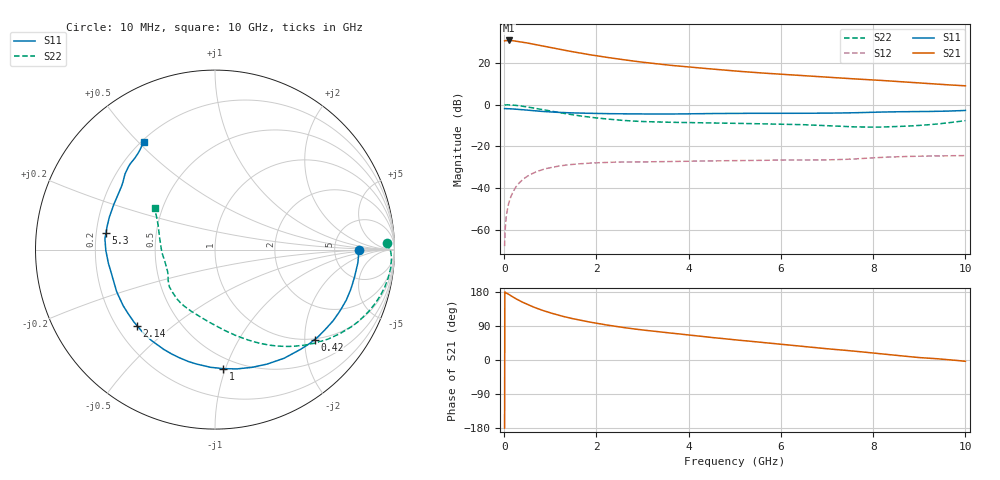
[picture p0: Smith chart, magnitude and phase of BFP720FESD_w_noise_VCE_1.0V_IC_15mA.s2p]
! (c) 2016  Infineon Technologies AG, Munich
! Infineon Technologies  Discrete & RF Semiconductors
! BFP720FESD
! VCE =  1.0 V,  IC =  15 mA
! Common Emitter S-Parameters:  Jan 2016
# GHz  S  MA  R  50
!  f  S11  S21  S12  S22
! GHz  MAG  ANG  MAG  ANG  MAG  ANG  MAG  ANG
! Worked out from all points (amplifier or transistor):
!   233 points, 10 MHz to 10 GHz, reference 50 ohm
!   highest |S21| = 30.7 dB at 100 MHz (marker M1)
!   |S21| within 3 dB of that: start of sweep to 913 MHz
!   unconditionally stable (mu >= 1): 5.667 GHz to end of sweep
!   at 200 MHz: K = 0.08, MSG = 36.1 dB, |S12| = -41.6 dB
!   at 1.74 GHz: K = 0.39, MSG = 26.3 dB, |S12| = -28.3 dB
!   at 10 GHz: K = 1.35, MAG = 13.2 dB, |S12| = -24.5 dB
!   lowest NFmin = 0.82 dB at 450 MHz
!   S11 on the Smith chart (normalised r, x): 10 MHz: 9.03, -0.07; 420 MHz: 0.98, -2.23; 1 GHz: 0.41, -0.98; 2.14 GHz: 0.28, -0.38; 5.3 GHz: 0.24, +0.07; 10 GHz: 0.21, +0.52
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0.01  0.8007 -0.1  33.53 -179.7  0.0004 127.9  0.9586 2.1
0.02  0.8003 -2.3  34.13 179.0  0.0009 82.4  0.9795 -0.7
0.1  0.7927 -10.7  34.46 173.2  0.0043 83.3  0.984 -6.1
0.2  0.7837 -21.0  33.85 165.7  0.0083 78.4  0.9681 -12.5
0.26  0.7741 -27.0  33.13 161.3  0.0107 76.0  0.9535 -16.1
0.42  0.7477 -42.1  31.11 151.4  0.0163 68.5  0.9034 -25.0
0.5  0.7327 -49.2  29.98 146.7  0.0189 65.1  0.8757 -29.2
0.6  0.7175 -57.5  28.59 141.4  0.0218 61.1  0.8389 -33.9
0.7  0.7009 -65.5  27.16 136.7  0.0244 57.5  0.803 -38.4
0.84  0.6816 -75.4  25.28 130.7  0.0276 52.9  0.7538 -44.0
1  0.6647 -86.2  23.34 124.5  0.0306 48.2  0.7002 -50.2
1.2  0.6477 -98.0  21.16 117.5  0.0336 43.3  0.6402 -57.1
1.34  0.6378 -105.2  19.77 113.2  0.0352 40.2  0.6025 -61.5
1.68  0.6212 -120.3  16.93 104.1  0.0382 34.2  0.5281 -71.0
2.14  0.6071 -135.7  14.01 94.1  0.0405 28.7  0.4596 -81.9
2.74  0.5971 -151.7  11.29 83.2  0.0419 23.6  0.405 -94.7
3.4  0.5914 -163.9  9.233 73.9  0.0426 21.4  0.3797 -104.1
5.1  0.6154 173.4  6.263 52.1  0.0452 18.9  0.3527 -123.4
5.3  0.6149 171.1  6.024 49.9  0.0455 18.8  0.3498 -125.4
6.8  0.6193 152.5  4.684 32.1  0.0469 19.2  0.3182 -144.3
8.4  0.6677 136.2  3.655 13.5  0.0553 21.4  0.2939 -175.1
10  0.7207 123.4  2.812 -3.4  0.0596 16.1  0.4102 145.2
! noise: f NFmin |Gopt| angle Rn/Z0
0.45  0.82  0.14  0  0.11
2.4  0.85  0.09  25  0.13
5.5  1  0.23  133  0.09
10  1.44  0.27  -137  0.13
